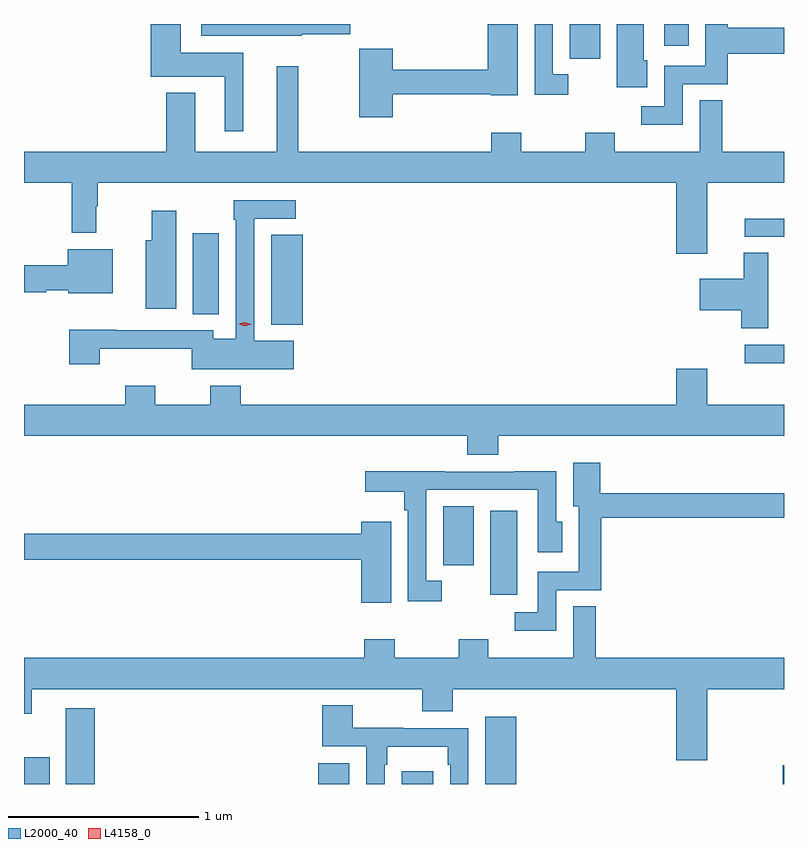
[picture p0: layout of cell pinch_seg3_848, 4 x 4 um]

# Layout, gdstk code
import gdstk
lib = gdstk.Library(unit=1e-6, precision=1e-09)
def R(c, l, rs):  # rectangles x0, y0, x1, y1
    for r in rs: c.add(gdstk.rectangle(r[:2], r[2:], *l))
def P(c, l, *ps):  # polygons
    for p in ps: c.add(gdstk.Polygon(p, *l))
L2000_40 = (2000, 40)
L4158_0 = (4158, 0)

pinch_seg3_848 = lib.new_cell('pinch_seg3_848')
R(pinch_seg3_848, L2000_40, [(701.035,689.76,701.17,689.902), (701.255,689.76,701.408,690.16), (702.584,689.76,702.748,689.869), (703.022,689.76,703.189,689.827), (703.463,689.76,703.625,690.115), (705.029,689.76,705.035,689.86), (703.49,690.756,703.63,691.198), (703.241,690.912,703.402,691.223), (704.829,691.975,705.035,692.073), (702.335,692.177,702.502,692.651), (701.924,692.233,702.061,692.659), (704.829,692.64,705.035,692.736), (703.907,693.576,704.068,693.76), (704.406,693.645,704.533,693.76)])
P(pinch_seg3_848, L2000_40, [(704.314,693.57),(704.296,693.57),(704.296,693.76),(704.156,693.76),(704.156,693.428),(704.314,693.428)],
  [(702.19,693.61),(701.86,693.61),(701.86,693.76),(701.702,693.76),(701.702,693.482),(702.092,693.482),(702.092,693.195),(702.19,693.195)],
  [(702.498,693.707),(702.751,693.707),(702.751,693.76),(701.967,693.76),(701.967,693.699),(702.279,693.699),(702.279,693.698),(702.498,693.698)],
  [(703.9,693.495),(703.818,693.495),(703.818,693.76),(703.722,693.76),(703.722,693.387),(703.9,693.387)],
  [(702.977,693.39),(703.491,693.39),(703.491,693.386),(703.633,693.386),(703.633,693.76),(703.475,693.76),(703.475,693.518),(702.977,693.518),(702.977,693.631),(702.799,693.631),(702.799,693.27),(702.977,693.27)],
  [(704.502,693.444),(704.74,693.444),(704.74,693.604),(705.035,693.604),(705.035,693.74),(704.74,693.74),(704.74,693.76),(704.621,693.76),(704.621,693.54),(704.406,693.54),(704.406,693.327),(704.283,693.327),(704.283,693.23),(704.502,693.23)],
  [(704.632,692.924),(705.035,692.924),(705.035,693.088),(704.71,693.088),(704.71,693.359),(704.591,693.359),(704.591,693.088),(704.145,693.088),(704.145,693.187),(703.99,693.187),(703.99,693.088),(703.653,693.088),(703.653,693.187),(703.493,693.187),(703.493,693.088),(702.479,693.088),(702.479,693.538),(702.365,693.538),(702.365,693.088),(701.935,693.088),(701.935,693.397),(701.783,693.397),(701.783,693.088),(701.035,693.088),(701.035,692.924),(701.287,692.924),(701.287,692.661),(701.416,692.661),(701.416,692.801),(701.423,692.801),(701.423,692.924),(704.468,692.924),(704.468,692.55),(704.632,692.55)],
  [(702.454,692.092),(702.246,692.092),(702.246,692.736),(702.466,692.736),(702.466,692.832),(702.138,692.832),(702.138,692.729),(702.15,692.729),(702.15,692.104),(702.031,692.104),(702.031,692.148),(701.521,692.148),(701.521,692.15),(701.273,692.15),(701.273,691.968),(701.433,691.968),(701.433,692.051),(701.918,692.051),(701.918,691.943),(702.454,691.943)],
  [(701.836,692.776),(701.707,692.776),(701.707,692.623),(701.675,692.623),(701.675,692.262),(701.836,692.262)],
  [(701.503,692.575),(701.264,692.575),(701.264,692.49),(701.035,692.49),(701.035,692.348),(701.151,692.348),(701.151,692.36),(701.268,692.36),(701.268,692.342),(701.503,692.342)],
  [(704.953,692.555),(704.822,692.555),(704.822,692.419),(704.592,692.419),(704.592,692.254),(704.81,692.254),(704.81,692.158),(704.953,692.158)],
  [(703.532,691.592),(705.035,691.592),(705.035,691.756),(704.632,691.756),(704.632,691.945),(704.468,691.945),(704.468,691.756),(702.176,691.756),(702.176,691.855),(702.016,691.855),(702.016,691.756),(701.727,691.756),(701.727,691.855),(701.567,691.855),(701.567,691.756),(701.035,691.756),(701.035,691.592),(703.367,691.592),(703.367,691.493),(703.532,691.493)],
  [(703.836,690.78),(704.074,690.78),(704.074,691.162),(705.035,691.162),(705.035,691.291),(704.069,691.291),(704.069,691.45),(703.925,691.45),(703.925,691.221),(703.955,691.221),(703.955,690.876),(703.74,690.876),(703.74,690.663),(703.617,690.663),(703.617,690.566),(703.836,690.566)],
  [(703.234,690.831),(703.152,690.831),(703.152,691.308),(703.74,691.308),(703.74,690.981),(703.867,690.981),(703.867,691.14),(703.836,691.14),(703.836,691.406),(703.615,691.406),(703.615,691.404),(703.249,691.404),(703.249,691.406),(702.831,691.406),(702.831,691.298),(703.036,691.298),(703.036,691.202),(703.056,691.202),(703.056,690.723),(703.234,690.723)],
  [(702.967,691.141),(702.809,691.141),(702.809,691.076),(701.035,691.076),(701.035,690.94),(702.809,690.94),(702.809,690.714),(702.967,690.714)],
  [(704.632,690.26),(705.035,690.26),(705.035,690.424),(704.044,690.424),(704.044,690.695),(703.925,690.695),(703.925,690.424),(703.479,690.424),(703.479,690.523),(703.324,690.523),(703.324,690.424),(702.987,690.424),(702.987,690.523),(702.827,690.523),(702.827,690.424),(701.035,690.424),(701.035,690.129),(701.077,690.129),(701.077,690.26),(703.132,690.26),(703.132,690.143),(703.292,690.143),(703.292,690.26),(704.468,690.26),(704.468,689.886),(704.632,689.886)],
  [(702.933,689.861),(702.946,689.861),(702.946,689.957),(703.266,689.957),(703.266,689.861),(703.278,689.861),(703.278,689.76),(703.374,689.76),(703.374,690.054),(703.03,690.054),(703.03,690.056),(702.765,690.056),(702.765,690.175),(702.605,690.175),(702.605,689.958),(702.837,689.958),(702.837,689.76),(702.933,689.76)])
P(pinch_seg3_848, L4158_0, [(702.197,692.17),(702.162,692.182),(702.162,692.182),(702.162,692.182),(702.197,692.19),(702.232,692.179),(702.232,692.179),(702.232,692.179)])

lib.write_gds('pinch_seg3_848.gds')
